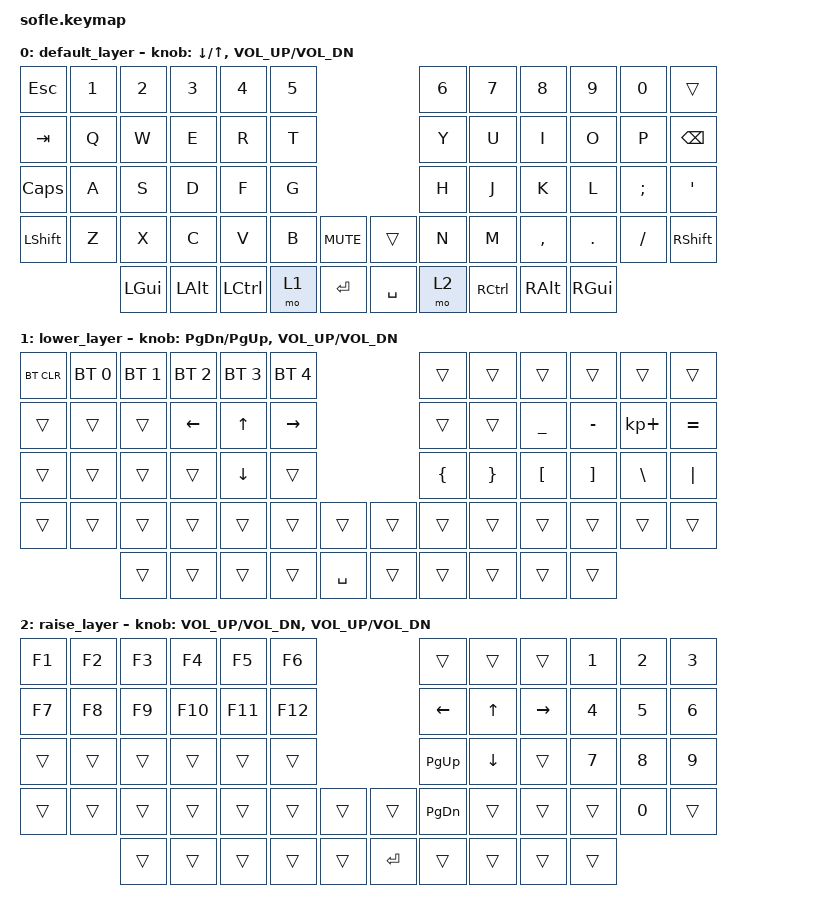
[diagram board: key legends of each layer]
/*
 * Copyright (c) 2020 The ZMK Contributors
 *
 * SPDX-License-Identifier: MIT
 */

#include <behaviors.dtsi>
#include <dt-bindings/zmk/keys.h>
#include <dt-bindings/zmk/bt.h>

/ {
    keymap {
        compatible = "zmk,keymap";

        default_layer {
// ------------------------------------------------------------------------------------------------------------
// |  ESC  |  1  |  2  |  3   |  4   |  5   |                    |  6   |  7    |  8    |  9   |   0   |       |
// |  TAB  |  Q  |  W  |  E   |  R   |  T   |                    |  Y   |  U    |  I    |  O   |   P   | BKSPC |
// | CAPS  |  A  |  S  |  D   |  F   |  G   |                    |  H   |  J    |  K    |  L   |   ;   |   '   |
// | SHIFT |  Z  |  X  |  C   |  V   |  B   |  MUTE  |  |        |  N   |  M    |  ,    |  .   |   /   | SHIFT |
//               | GUI | ALT  | CTRL | LOWER|  ENTER |  | SPACE  | RAISE| CTRL  | ALT   | GUI  |
            bindings = <
&kp ESC    &kp N1    &kp N2   &kp N3   &kp N4    &kp N5                                     &kp N6 &kp N7     &kp N8      &kp N9     &kp N0     &trans 
&kp TAB    &kp Q     &kp W    &kp E    &kp R     &kp T                                      &kp Y  &kp U      &kp I       &kp O      &kp P      &kp BSPC
&kp CLCK   &kp A     &kp S    &kp D    &kp F     &kp G                                      &kp H  &kp J      &kp K       &kp L      &kp SEMI   &kp SQT
&kp LSHFT  &kp Z     &kp X    &kp C    &kp V     &kp B  &kp C_MUTE          &trans          &kp N  &kp M      &kp COMMA   &kp DOT    &kp FSLH   &kp RSHFT
                     &kp LGUI &kp LALT &kp LCTRL &mo 1  &kp RET             &kp SPACE       &mo 2  &kp RCTRL  &kp RALT    &kp RGUI
            >;

            sensor-bindings = <&inc_dec_cp DOWN UP &inc_dec_kp C_VOL_UP C_VOL_DN>;
        };

        lower_layer {
// TODO: Some binds are waiting for shifted keycode support.
// ------------------------------------------------------------------------------------------------------------
// | BTCLR | BT0 | BT1 |  BT2 |  BT3 |  BT4 |                   |      |       |       |      |       |       |
// |       |     |     |  LFT |  UP  |  RGT |                   |      |       |   _   |  -   |   +   |   =   |
// |       |     |     |      |  DWN |      |                   |  {   |   }   |   [   |  ]   |   \   |   |   |
// |       |     |     |      |      |      |        |  |       |      |       |       |      |       |       |
//                     |      |      |      |  SPACE |  |       |      |       |       |
			bindings = <
&bt BT_CLR &bt BT_SEL 0     &bt BT_SEL 1      &bt BT_SEL 2      &bt BT_SEL 3 &bt BT_SEL 4                         &trans    &trans    &trans          &trans      &trans         &trans
&trans     &trans           &trans            &kp LEFT          &kp UP       &kp RIGHT                            &trans    &trans    &kp UNDER       &kp MINUS   &kp KP_PLUS    &kp EQUAL
&trans     &trans           &trans            &trans            &kp DOWN     &trans                               &kp LBRC  &kp RBRC  &kp LBKT        &kp RBKT    &kp BSLH       &kp PIPE
&trans     &trans           &trans            &trans            &trans       &trans     &trans      &trans        &trans    &trans    &trans          &trans      &trans         &trans
                            &trans            &trans            &trans       &trans     &kp SPACE   &trans        &trans    &trans    &trans          &trans
            >;

            sensor-bindings = <&inc_dec_kp PG_DN PG_UP &inc_dec_kp C_VOL_UP C_VOL_DN>;
        };

        raise_layer {
/// ------------------------------------------------------------------------------------------------------------
// |   F1  |  F2 |  F3 |   F4 |  F5  |  F6  |                   |      |       |       |   1  |   2   |   3   |
// |  F7   |  F8 |  F9 |  F10 | F11  |  F12 |                   |  LFT |   UP  |  RGT  |   4  |   5   |   6   |
// |       |     |     |      |      |      |                   | PGUP |  DWN  |       |   7  |   8   |   9   |
// |       |     |     |      |      |      |        |  |       | PGDN |       |       |      |   0   |       |
//                     |      |      |      |        |  | ENTER |      |       |       |
			bindings = <
&kp F1      &kp F2    &kp F3    &kp F4    &kp F5    &kp F6                       &trans      &trans       &trans         &kp N1     &kp N2     &kp N3
&kp F7      &kp F8    &kp F9    &kp F10   &kp F11   &kp F12                      &kp LEFT    &kp UP       &kp RIGHT      &kp N4     &kp N5     &kp N6
&trans      &trans    &trans    &trans    &trans    &trans                       &kp PG_UP   &kp DOWN     &trans         &kp N7     &kp N8     &kp N9
&trans      &trans    &trans    &trans    &trans    &trans   &trans    &trans    &kp PG_DN   &trans       &trans         &trans     &kp N0     &trans
                      &trans    &trans    &trans    &trans   &trans    &kp RET   &trans      &trans      &trans          &trans
            >;

            sensor-bindings = <&inc_dec_kp C_VOL_UP C_VOL_DN &inc_dec_kp C_VOL_UP C_VOL_DN>;
        };
    };
};
